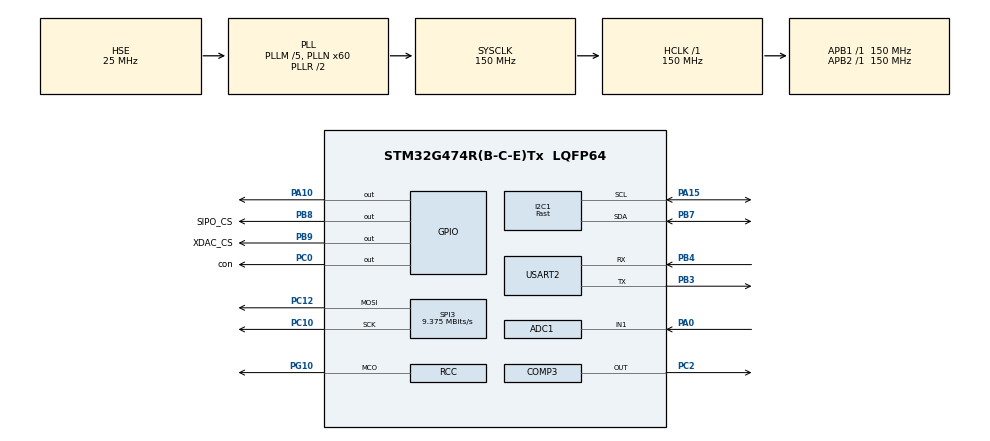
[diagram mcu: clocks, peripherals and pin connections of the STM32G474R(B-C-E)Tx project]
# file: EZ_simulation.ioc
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ADC1.Channel-1\#ChannelRegularConversion=ADC_CHANNEL_1
ADC1.ClockPrescaler=ADC_CLOCK_ASYNC_DIV1
ADC1.ContinuousConvMode=DISABLE
ADC1.ExternalTrigConv=ADC_EXTERNALTRIG_T6_TRGO
ADC1.NbrOfConversion=1
ADC1.NbrOfConversionFlag=1
ADC1.OffsetNumber-1\#ChannelRegularConversion=ADC_OFFSET_NONE
ADC1.Rank-1\#ChannelRegularConversion=1
ADC1.SamplingTime-1\#ChannelRegularConversion=ADC_SAMPLETIME_2CYCLES_5
ADC1.master=1
COMP3.Hysteresis=COMP_HYSTERESIS_70MV
CRC.CRCLength=CRC_POLYLENGTH_16B
CRC.DefaultInitValueUse=DEFAULT_INIT_VALUE_DISABLE
CRC.DefaultPolynomialUse=DEFAULT_POLYNOMIAL_DISABLE
CRC.GeneratingPolynomial=X12+X5+X0
Dma.ADC1.1.Direction=DMA_PERIPH_TO_MEMORY
Dma.ADC1.1.EventEnable=DISABLE
Dma.ADC1.1.Instance=DMA1_Channel1
Dma.ADC1.1.MemDataAlignment=DMA_MDATAALIGN_HALFWORD
Dma.ADC1.1.MemInc=DMA_MINC_ENABLE
Dma.ADC1.1.Mode=DMA_NORMAL
Dma.ADC1.1.PeriphDataAlignment=DMA_PDATAALIGN_HALFWORD
Dma.ADC1.1.PeriphInc=DMA_PINC_DISABLE
Dma.ADC1.1.Polarity=HAL_DMAMUX_REQ_GEN_RISING
Dma.ADC1.1.Priority=DMA_PRIORITY_LOW
Dma.ADC1.1.RequestNumber=1
Dma.ADC1.1.SignalID=NONE
Dma.ADC1.1.SyncEnable=DISABLE
Dma.ADC1.1.SyncPolarity=HAL_DMAMUX_SYNC_NO_EVENT
Dma.ADC1.1.SyncRequestNumber=1
Dma.ADC1.1.SyncSignalID=NONE
Dma.Request0=USART2_RX
Dma.Request1=ADC1
Dma.Request2=TIM2_CH1
Dma.TIM2_CH1.2.Direction=DMA_PERIPH_TO_MEMORY
Dma.TIM2_CH1.2.EventEnable=DISABLE
Dma.TIM2_CH1.2.Instance=DMA1_Channel2
Dma.TIM2_CH1.2.MemDataAlignment=DMA_MDATAALIGN_WORD
Dma.TIM2_CH1.2.MemInc=DMA_MINC_ENABLE
Dma.TIM2_CH1.2.Mode=DMA_NORMAL
Dma.TIM2_CH1.2.PeriphDataAlignment=DMA_PDATAALIGN_WORD
Dma.TIM2_CH1.2.PeriphInc=DMA_PINC_DISABLE
Dma.TIM2_CH1.2.Polarity=HAL_DMAMUX_REQ_GEN_RISING
Dma.TIM2_CH1.2.Priority=DMA_PRIORITY_HIGH
Dma.TIM2_CH1.2.RequestNumber=1
Dma.TIM2_CH1.2.SignalID=NONE
Dma.TIM2_CH1.2.SyncEnable=DISABLE
Dma.TIM2_CH1.2.SyncPolarity=HAL_DMAMUX_SYNC_NO_EVENT
Dma.TIM2_CH1.2.SyncRequestNumber=1
Dma.TIM2_CH1.2.SyncSignalID=NONE
Dma.USART2_RX.0.Direction=DMA_PERIPH_TO_MEMORY
Dma.USART2_RX.0.EventEnable=DISABLE
Dma.USART2_RX.0.Instance=DMA2_Channel8
Dma.USART2_RX.0.MemDataAlignment=DMA_MDATAALIGN_BYTE
Dma.USART2_RX.0.MemInc=DMA_MINC_ENABLE
Dma.USART2_RX.0.Mode=DMA_NORMAL
Dma.USART2_RX.0.PeriphDataAlignment=DMA_PDATAALIGN_BYTE
Dma.USART2_RX.0.PeriphInc=DMA_PINC_DISABLE
Dma.USART2_RX.0.Polarity=HAL_DMAMUX_REQ_GEN_RISING
Dma.USART2_RX.0.Priority=DMA_PRIORITY_LOW
Dma.USART2_RX.0.RequestNumber=1
Dma.USART2_RX.0.SignalID=NONE
Dma.USART2_RX.0.SyncEnable=DISABLE
Dma.USART2_RX.0.SyncPolarity=HAL_DMAMUX_SYNC_NO_EVENT
Dma.USART2_RX.0.SyncRequestNumber=1
Dma.USART2_RX.0.SyncSignalID=NONE
I2C1.I2C_Speed_Mode=I2C_Fast
I2C1.Timing=0x10E32879
Mcu.Family=STM32G4
Mcu.Name=STM32G474R(B-C-E)Tx
Mcu.Package=LQFP64
NVIC.DMA1_Channel1_IRQn=true\:0\:0\:false\:false\:true\:false\:true\:true
NVIC.DMA1_Channel2_IRQn=true\:0\:0\:false\:false\:true\:false\:true\:true
NVIC.DMA2_Channel8_IRQn=true\:0\:0\:false\:false\:true\:false\:true\:true
NVIC.PriorityGroup=NVIC_PRIORITYGROUP_4
NVIC.USART2_IRQn=true\:14\:0\:true\:false\:true\:true\:true\:true
PA0.Signal=SharedAnalog_PA0
PA10.Signal=GPIO_Output
PA13.Mode=Serial_Wire
PA13.Signal=SYS_JTMS-SWDIO
PA14.Mode=Serial_Wire
PA14.Signal=SYS_JTCK-SWCLK
PA15.Mode=I2C
PA15.Signal=I2C1_SCL
PB3.Mode=Asynchronous
PB3.Signal=USART2_TX
PB4.Mode=Asynchronous
PB4.Signal=USART2_RX
PB7.Mode=I2C
PB7.Signal=I2C1_SDA
PB8-BOOT0.GPIO_Label=SIPO_CS
PB8-BOOT0.Signal=GPIO_Output
PB9.GPIO_Label=XDAC_CS
PB9.Signal=GPIO_Output
PC0.GPIO_Label=con
PC0.Signal=GPIO_Output
PC10.Mode=TX_Only_Simplex_Unidirect_Master
PC10.Signal=SPI3_SCK
PC12.Mode=TX_Only_Simplex_Unidirect_Master
PC12.Signal=SPI3_MOSI
PC2.Mode=ExternalOutput
PC2.Signal=COMP3_OUT
PF0-OSC_IN.Mode=HSE-External-Oscillator
PF0-OSC_IN.Signal=RCC_OSC_IN
PF1-OSC_OUT.Mode=HSE-External-Oscillator
PF1-OSC_OUT.Signal=RCC_OSC_OUT
PG10-NRST.Mode=Clock-out
PG10-NRST.Signal=RCC_MCO
ProjectManager.HeapSize=0x200
ProjectManager.StackSize=0x400
ProjectManager.TargetToolchain=STM32CubeIDE
RCC.ADC12CLockSelection=RCC_ADC12CLKSOURCE_PLL
RCC.ADC12Freq_Value=60000000
RCC.ADC345Freq_Value=150000000
RCC.AHBFreq_Value=150000000
RCC.APB1Freq_Value=150000000
RCC.APB1TimFreq_Value=150000000
RCC.APB2Freq_Value=150000000
RCC.APB2TimFreq_Value=150000000
RCC.CortexFreq_Value=150000000
RCC.EXTERNAL_CLOCK_VALUE=12288000
RCC.HCLKFreq_Value=150000000
RCC.HSE_VALUE=25000000
RCC.HSI48_VALUE=48000000
RCC.HSI_VALUE=16000000
RCC.LSE_VALUE=32768
RCC.PLLM=RCC_PLLM_DIV5
RCC.PLLN=60
RCC.PLLP=RCC_PLLP_DIV5
RCC.PLLSourceVirtual=RCC_PLLSOURCE_HSE
RCC.RCC_MCO1Source=RCC_MCO1SOURCE_HSE
RCC.SYSCLKFreq_VALUE=150000000
RCC.SYSCLKSource=RCC_SYSCLKSOURCE_PLLCLK
RCC.USART2CLockSelection=RCC_USART2CLKSOURCE_SYSCLK
RCC.USBFreq_Value=150000000
RCC.VCOOutputFreq_Value=300000000
SH.SharedAnalog_PA0.0=ADC1_IN1,IN1-Single-Ended
SH.SharedAnalog_PA0.1=COMP3_INP,INP
SPI3.BaudRatePrescaler=SPI_BAUDRATEPRESCALER_16
SPI3.CalculateBaudRate=9.375 MBits/s
SPI3.DataSize=SPI_DATASIZE_8BIT
SPI3.Direction=SPI_DIRECTION_2LINES
SPI3.Mode=SPI_MODE_MASTER
SPI3.VirtualType=VM_MASTER
TIM2.Channel-Input_Capture1_from_TI1_REMAP_TIM2=TIM_CHANNEL_1
TIM2.TIM2_TI1_REMAP-Input_Capture1_from_TI1_REMAP_TIM2=TIM_TIM2_TI1_COMP3
TIM6.PeriodNoDither=150-1
TIM6.TIM_MasterOutputTrigger=TIM_TRGO_UPDATE
USART2.VirtualMode-Asynchronous=VM_ASYNC
VP_COMP3_VS_DAC1OUT1.Mode=INM_DAC1OUT1
VP_CRC_VS_CRC.Mode=CRC_Activate
VP_DAC1_VS_DACI1.Mode=DAC_OUT1_Int
VP_SYS_VS_DBSignals.Mode=DisableDeadBatterySignals
VP_TIM2_VS_ClockSourceINT.Mode=Internal
VP_TIM2_VS_NoInput1.Mode=Input_Capture1_from_TI1_REMAP_TIM2
VP_TIM3_VS_ClockSourceINT.Mode=Internal
VP_TIM6_VS_ClockSourceINT.Mode=Enable_Timer
VP_TIM7_VS_ClockSourceINT.Mode=Enable_Timer
board=custom

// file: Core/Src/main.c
/* USER CODE BEGIN Header */
/**
  ******************************************************************************
  * @file           : main.c
  * @brief          : Main program body
  ******************************************************************************
  * @attention
  *
  * Copyright (c) 2024 STMicroelectronics.
  * All rights reserved.
  *
  * This software is licensed under terms that can be found in the LICENSE file
  * in the root directory of this software component.
  * If no LICENSE file comes with this software, it is provided AS-IS.
  *
  ******************************************************************************
  */
/* USER CODE END Header */
#include "main.h"

/* USER CODE BEGIN Includes */
#include "measure.h"
/* USER CODE END Includes */

ADC_HandleTypeDef hadc1;
DMA_HandleTypeDef hdma_adc1;

COMP_HandleTypeDef hcomp3;

CRC_HandleTypeDef hcrc;

DAC_HandleTypeDef hdac1;

I2C_HandleTypeDef hi2c1;

SPI_HandleTypeDef hspi3;

TIM_HandleTypeDef htim2;
TIM_HandleTypeDef htim3;
TIM_HandleTypeDef htim6;
TIM_HandleTypeDef htim7;
DMA_HandleTypeDef hdma_tim2_ch1;

UART_HandleTypeDef huart2;
DMA_HandleTypeDef hdma_usart2_rx;

void SystemClock_Config(void);
static void MX_GPIO_Init(void);
static void MX_DMA_Init(void);
static void MX_CRC_Init(void);
static void MX_USART2_UART_Init(void);
static void MX_ADC1_Init(void);
static void MX_SPI3_Init(void);
static void MX_TIM6_Init(void);
static void MX_I2C1_Init(void);
static void MX_DAC1_Init(void);
static void MX_COMP3_Init(void);
static void MX_TIM3_Init(void);
static void MX_TIM2_Init(void);
static void MX_TIM7_Init(void);
/* USER CODE BEGIN PFP */

#define AFE_GAIN_1  0b00000100
#define AFE_GAIN_2  0b00001000
#define AFE_GAIN_3  0b00000000
#define AFE_GAIN_4  0b00001110
#define AFE_GAIN_5  0b00001100
#define AFE_GAIN_6  0b00000010
#define GAIN_1 0.066
#define GAIN_2 0.2
#define GAIN_3 0.6
#define GAIN_4 1.95
#define GAIN_5 3.8
#define GAIN_6 7.8

#define DAC_AFE_OFF1 0
#define DAC_AFE_OFF2 1

#define AFE_GAIN_CS SIPO_CS

#define AWG_GAIN_1  0b00000100
#define AWG_GAIN_2  0b00100000
#define AWG_GAIN_3  0b00010000
#define AWG_GAIN_4  0b00110000

uint8_t gain_state;
static uint8_t now_level;
float afe_gain[6] ={0.33, 1, 3, 9.5, 19, 39};
uint16_t awg_offset_level_buffer[16]={
    2048, 2048, 2048, 2048,
    2048, 2048, 2048, 2048,
    2048, 2048, 2048, 2048,
    2048, 2048, 2048, 2048
};
/* USER CODE END PFP */

int main(void)
{

  /* MCU Configuration--------------------------------------------------------*/

  /* Reset of all peripherals, Initializes the Flash interface and the Systick. */
  HAL_Init();

  /* Configure the system clock */
  SystemClock_Config();

  /* Initialize all configured peripherals */
  MX_GPIO_Init();
  MX_DMA_Init();
  MX_CRC_Init();
  MX_USART2_UART_Init();
  MX_ADC1_Init();
  MX_SPI3_Init();
  MX_TIM6_Init();
  MX_I2C1_Init();
  MX_DAC1_Init();
  MX_COMP3_Init();
  MX_TIM3_Init();
  MX_TIM2_Init();
  MX_TIM7_Init();

  /* Infinite loop */
  while (1)
  {

  }
}

void SystemClock_Config(void)
{
  RCC_OscInitTypeDef RCC_OscInitStruct = {0};
  RCC_ClkInitTypeDef RCC_ClkInitStruct = {0};

  /** Configure the main internal regulator output voltage
  */
  HAL_PWREx_ControlVoltageScaling(PWR_REGULATOR_VOLTAGE_SCALE1);

  /** Initializes the RCC Oscillators according to the specified parameters
  * in the RCC_OscInitTypeDef structure.
  */
  RCC_OscInitStruct.OscillatorType = RCC_OSCILLATORTYPE_HSE;
  RCC_OscInitStruct.HSEState = RCC_HSE_ON;
  RCC_OscInitStruct.PLL.PLLState = RCC_PLL_ON;
  RCC_OscInitStruct.PLL.PLLSource = RCC_PLLSOURCE_HSE;
  RCC_OscInitStruct.PLL.PLLM = RCC_PLLM_DIV5;
  RCC_OscInitStruct.PLL.PLLN = 60;
  RCC_OscInitStruct.PLL.PLLP = RCC_PLLP_DIV5;
  RCC_OscInitStruct.PLL.PLLQ = RCC_PLLQ_DIV2;
  RCC_OscInitStruct.PLL.PLLR = RCC_PLLR_DIV2;
  if (HAL_RCC_OscConfig(&RCC_OscInitStruct) != HAL_OK)
  {
    Error_Handler();
  }

  /** Initializes the CPU, AHB and APB buses clocks
  */
  RCC_ClkInitStruct.ClockType = RCC_CLOCKTYPE_HCLK|RCC_CLOCKTYPE_SYSCLK
                              |RCC_CLOCKTYPE_PCLK1|RCC_CLOCKTYPE_PCLK2;
  RCC_ClkInitStruct.SYSCLKSource = RCC_SYSCLKSOURCE_PLLCLK;
  RCC_ClkInitStruct.AHBCLKDivider = RCC_SYSCLK_DIV1;
  RCC_ClkInitStruct.APB1CLKDivider = RCC_HCLK_DIV1;
  RCC_ClkInitStruct.APB2CLKDivider = RCC_HCLK_DIV1;

  if (HAL_RCC_ClockConfig(&RCC_ClkInitStruct, FLASH_LATENCY_4) != HAL_OK)
  {
    Error_Handler();
  }
  HAL_RCC_MCOConfig(RCC_MCO_PG10, RCC_MCO1SOURCE_HSE, RCC_MCODIV_1);
}

static void MX_ADC1_Init(void)
{

  ADC_MultiModeTypeDef multimode = {0};
  ADC_ChannelConfTypeDef sConfig = {0};

  /** Common config
  */
  hadc1.Instance = ADC1;
  hadc1.Init.ClockPrescaler = ADC_CLOCK_ASYNC_DIV1;
  hadc1.Init.Resolution = ADC_RESOLUTION_12B;
  hadc1.Init.DataAlign = ADC_DATAALIGN_RIGHT;
  hadc1.Init.GainCompensation = 0;
  hadc1.Init.ScanConvMode = ADC_SCAN_DISABLE;
  hadc1.Init.EOCSelection = ADC_EOC_SINGLE_CONV;
  hadc1.Init.LowPowerAutoWait = DISABLE;
  hadc1.Init.ContinuousConvMode = DISABLE;
  hadc1.Init.NbrOfConversion = 1;
  hadc1.Init.DiscontinuousConvMode = DISABLE;
  hadc1.Init.ExternalTrigConv = ADC_EXTERNALTRIG_T6_TRGO;
  hadc1.Init.ExternalTrigConvEdge = ADC_EXTERNALTRIGCONVEDGE_RISING;
  hadc1.Init.DMAContinuousRequests = DISABLE;
  hadc1.Init.Overrun = ADC_OVR_DATA_PRESERVED;
  hadc1.Init.OversamplingMode = DISABLE;
  if (HAL_ADC_Init(&hadc1) != HAL_OK)
  {
    Error_Handler();
  }

  /** Configure the ADC multi-mode
  */
  multimode.Mode = ADC_MODE_INDEPENDENT;
  if (HAL_ADCEx_MultiModeConfigChannel(&hadc1, &multimode) != HAL_OK)
  {
    Error_Handler();
  }

  /** Configure Regular Channel
  */
  sConfig.Channel = ADC_CHANNEL_1;
  sConfig.Rank = ADC_REGULAR_RANK_1;
  sConfig.SamplingTime = ADC_SAMPLETIME_2CYCLES_5;
  sConfig.SingleDiff = ADC_SINGLE_ENDED;
  sConfig.OffsetNumber = ADC_OFFSET_NONE;
  sConfig.Offset = 0;
  if (HAL_ADC_ConfigChannel(&hadc1, &sConfig) != HAL_OK)
  {
    Error_Handler();
  }

}

static void MX_COMP3_Init(void)
{

  hcomp3.Instance = COMP3;
  hcomp3.Init.InputPlus = COMP_INPUT_PLUS_IO1;
  hcomp3.Init.InputMinus = COMP_INPUT_MINUS_DAC1_CH1;
  hcomp3.Init.OutputPol = COMP_OUTPUTPOL_NONINVERTED;
  hcomp3.Init.Hysteresis = COMP_HYSTERESIS_70MV;
  hcomp3.Init.BlankingSrce = COMP_BLANKINGSRC_NONE;
  hcomp3.Init.TriggerMode = COMP_TRIGGERMODE_NONE;
  if (HAL_COMP_Init(&hcomp3) != HAL_OK)
  {
    Error_Handler();
  }

}

static void MX_CRC_Init(void)
{

  hcrc.Instance = CRC;
  hcrc.Init.DefaultPolynomialUse = DEFAULT_POLYNOMIAL_DISABLE;
  hcrc.Init.DefaultInitValueUse = DEFAULT_INIT_VALUE_DISABLE;
  hcrc.Init.GeneratingPolynomial = 4129;
  hcrc.Init.CRCLength = CRC_POLYLENGTH_16B;
  hcrc.Init.InitValue = 0;
  hcrc.Init.InputDataInversionMode = CRC_INPUTDATA_INVERSION_NONE;
  hcrc.Init.OutputDataInversionMode = CRC_OUTPUTDATA_INVERSION_DISABLE;
  hcrc.InputDataFormat = CRC_INPUTDATA_FORMAT_BYTES;
  if (HAL_CRC_Init(&hcrc) != HAL_OK)
  {
    Error_Handler();
  }

}

static void MX_DAC1_Init(void)
{

  DAC_ChannelConfTypeDef sConfig = {0};

  /** DAC Initialization
  */
  hdac1.Instance = DAC1;
  if (HAL_DAC_Init(&hdac1) != HAL_OK)
  {
    Error_Handler();
  }

  /** DAC channel OUT1 config
  */
  sConfig.DAC_HighFrequency = DAC_HIGH_FREQUENCY_INTERFACE_MODE_AUTOMATIC;
  sConfig.DAC_DMADoubleDataMode = DISABLE;
  sConfig.DAC_SignedFormat = DISABLE;
  sConfig.DAC_SampleAndHold = DAC_SAMPLEANDHOLD_DISABLE;
  sConfig.DAC_Trigger = DAC_TRIGGER_NONE;
  sConfig.DAC_Trigger2 = DAC_TRIGGER_NONE;
  sConfig.DAC_OutputBuffer = DAC_OUTPUTBUFFER_DISABLE;
  sConfig.DAC_ConnectOnChipPeripheral = DAC_CHIPCONNECT_INTERNAL;
  sConfig.DAC_UserTrimming = DAC_TRIMMING_FACTORY;
  if (HAL_DAC_ConfigChannel(&hdac1, &sConfig, DAC_CHANNEL_1) != HAL_OK)
  {
    Error_Handler();
  }

}

static void MX_I2C1_Init(void)
{

  hi2c1.Instance = I2C1;
  hi2c1.Init.Timing = 0x10E32879;
  hi2c1.Init.OwnAddress1 = 0;
  hi2c1.Init.AddressingMode = I2C_ADDRESSINGMODE_7BIT;
  hi2c1.Init.DualAddressMode = I2C_DUALADDRESS_DISABLE;
  hi2c1.Init.OwnAddress2 = 0;
  hi2c1.Init.OwnAddress2Masks = I2C_OA2_NOMASK;
  hi2c1.Init.GeneralCallMode = I2C_GENERALCALL_DISABLE;
  hi2c1.Init.NoStretchMode = I2C_NOSTRETCH_DISABLE;
  if (HAL_I2C_Init(&hi2c1) != HAL_OK)
  {
    Error_Handler();
  }

  /** Configure Analogue filter
  */
  if (HAL_I2CEx_ConfigAnalogFilter(&hi2c1, I2C_ANALOGFILTER_ENABLE) != HAL_OK)
  {
    Error_Handler();
  }

  /** Configure Digital filter
  */
  if (HAL_I2CEx_ConfigDigitalFilter(&hi2c1, 0) != HAL_OK)
  {
    Error_Handler();
  }

}

static void MX_SPI3_Init(void)
{

  /* SPI3 parameter configuration*/
  hspi3.Instance = SPI3;
  hspi3.Init.Mode = SPI_MODE_MASTER;
  hspi3.Init.Direction = SPI_DIRECTION_2LINES;
  hspi3.Init.DataSize = SPI_DATASIZE_8BIT;
  hspi3.Init.CLKPolarity = SPI_POLARITY_LOW;
  hspi3.Init.CLKPhase = SPI_PHASE_1EDGE;
  hspi3.Init.NSS = SPI_NSS_SOFT;
  hspi3.Init.BaudRatePrescaler = SPI_BAUDRATEPRESCALER_16;
  hspi3.Init.FirstBit = SPI_FIRSTBIT_MSB;
  hspi3.Init.TIMode = SPI_TIMODE_DISABLE;
  hspi3.Init.CRCCalculation = SPI_CRCCALCULATION_DISABLE;
  hspi3.Init.CRCPolynomial = 7;
  hspi3.Init.CRCLength = SPI_CRC_LENGTH_DATASIZE;
  hspi3.Init.NSSPMode = SPI_NSS_PULSE_ENABLE;
  if (HAL_SPI_Init(&hspi3) != HAL_OK)
  {
    Error_Handler();
  }

}

static void MX_TIM2_Init(void)
{

  TIM_ClockConfigTypeDef sClockSourceConfig = {0};
  TIM_MasterConfigTypeDef sMasterConfig = {0};
  TIM_IC_InitTypeDef sConfigIC = {0};

  htim2.Instance = TIM2;
  htim2.Init.Prescaler = 0;
  htim2.Init.CounterMode = TIM_COUNTERMODE_UP;
  htim2.Init.Period = 4294967295;
  htim2.Init.ClockDivision = TIM_CLOCKDIVISION_DIV1;
  htim2.Init.AutoReloadPreload = TIM_AUTORELOAD_PRELOAD_DISABLE;
  if (HAL_TIM_Base_Init(&htim2) != HAL_OK)
  {
    Error_Handler();
  }
  sClockSourceConfig.ClockSource = TIM_CLOCKSOURCE_INTERNAL;
  if (HAL_TIM_ConfigClockSource(&htim2, &sClockSourceConfig) != HAL_OK)
  {
    Error_Handler();
  }
  if (HAL_TIM_IC_Init(&htim2) != HAL_OK)
  {
    Error_Handler();
  }
  sMasterConfig.MasterOutputTrigger = TIM_TRGO_RESET;
  sMasterConfig.MasterSlaveMode = TIM_MASTERSLAVEMODE_DISABLE;
  if (HAL_TIMEx_MasterConfigSynchronization(&htim2, &sMasterConfig) != HAL_OK)
  {
    Error_Handler();
  }
  sConfigIC.ICPolarity = TIM_INPUTCHANNELPOLARITY_RISING;
  sConfigIC.ICSelection = TIM_ICSELECTION_DIRECTTI;
  sConfigIC.ICPrescaler = TIM_ICPSC_DIV1;
  sConfigIC.ICFilter = 0;
  if (HAL_TIM_IC_ConfigChannel(&htim2, &sConfigIC, TIM_CHANNEL_1) != HAL_OK)
  {
    Error_Handler();
  }
  if (HAL_TIMEx_TISelection(&htim2, TIM_TIM2_TI1_COMP3, TIM_CHANNEL_1) != HAL_OK)
  {
    Error_Handler();
  }

}

static void MX_TIM3_Init(void)
{

  TIM_ClockConfigTypeDef sClockSourceConfig = {0};
  TIM_MasterConfigTypeDef sMasterConfig = {0};

  htim3.Instance = TIM3;
  htim3.Init.Prescaler = 0;
  htim3.Init.CounterMode = TIM_COUNTERMODE_UP;
  htim3.Init.Period = 65535;
  htim3.Init.ClockDivision = TIM_CLOCKDIVISION_DIV1;
  htim3.Init.AutoReloadPreload = TIM_AUTORELOAD_PRELOAD_DISABLE;
  if (HAL_TIM_Base_Init(&htim3) != HAL_OK)
  {
    Error_Handler();
  }
  sClockSourceConfig.ClockSource = TIM_CLOCKSOURCE_INTERNAL;
  if (HAL_TIM_ConfigClockSource(&htim3, &sClockSourceConfig) != HAL_OK)
  {
    Error_Handler();
  }
  sMasterConfig.MasterOutputTrigger = TIM_TRGO_RESET;
  sMasterConfig.MasterSlaveMode = TIM_MASTERSLAVEMODE_DISABLE;
  if (HAL_TIMEx_MasterConfigSynchronization(&htim3, &sMasterConfig) != HAL_OK)
  {
    Error_Handler();
  }

}

static void MX_TIM6_Init(void)
{

  TIM_MasterConfigTypeDef sMasterConfig = {0};

  htim6.Instance = TIM6;
  htim6.Init.Prescaler = 0;
  htim6.Init.CounterMode = TIM_COUNTERMODE_UP;
  htim6.Init.Period = 149;
  htim6.Init.AutoReloadPreload = TIM_AUTORELOAD_PRELOAD_DISABLE;
  if (HAL_TIM_Base_Init(&htim6) != HAL_OK)
  {
    Error_Handler();
  }
  sMasterConfig.MasterOutputTrigger = TIM_TRGO_UPDATE;
  sMasterConfig.MasterSlaveMode = TIM_MASTERSLAVEMODE_DISABLE;
  if (HAL_TIMEx_MasterConfigSynchronization(&htim6, &sMasterConfig) != HAL_OK)
  {
    Error_Handler();
  }

}

static void MX_TIM7_Init(void)
{

  TIM_MasterConfigTypeDef sMasterConfig = {0};

  htim7.Instance = TIM7;
  htim7.Init.Prescaler = 0;
  htim7.Init.CounterMode = TIM_COUNTERMODE_UP;
  htim7.Init.Period = 65535;
  htim7.Init.AutoReloadPreload = TIM_AUTORELOAD_PRELOAD_DISABLE;
  if (HAL_TIM_Base_Init(&htim7) != HAL_OK)
  {
    Error_Handler();
  }
  sMasterConfig.MasterOutputTrigger = TIM_TRGO_RESET;
  sMasterConfig.MasterSlaveMode = TIM_MASTERSLAVEMODE_DISABLE;
  if (HAL_TIMEx_MasterConfigSynchronization(&htim7, &sMasterConfig) != HAL_OK)
  {
    Error_Handler();
  }

}

static void MX_USART2_UART_Init(void)
{

  huart2.Instance = USART2;
  huart2.Init.BaudRate = 115200;
  huart2.Init.WordLength = UART_WORDLENGTH_8B;
  huart2.Init.StopBits = UART_STOPBITS_1;
  huart2.Init.Parity = UART_PARITY_NONE;
  huart2.Init.Mode = UART_MODE_TX_RX;
  huart2.Init.HwFlowCtl = UART_HWCONTROL_NONE;
  huart2.Init.OverSampling = UART_OVERSAMPLING_16;
  huart2.Init.OneBitSampling = UART_ONE_BIT_SAMPLE_DISABLE;
  huart2.Init.ClockPrescaler = UART_PRESCALER_DIV1;
  huart2.AdvancedInit.AdvFeatureInit = UART_ADVFEATURE_NO_INIT;
  if (HAL_UART_Init(&huart2) != HAL_OK)
  {
    Error_Handler();
  }
  if (HAL_UARTEx_SetTxFifoThreshold(&huart2, UART_TXFIFO_THRESHOLD_1_8) != HAL_OK)
  {
    Error_Handler();
  }
  if (HAL_UARTEx_SetRxFifoThreshold(&huart2, UART_RXFIFO_THRESHOLD_1_8) != HAL_OK)
  {
    Error_Handler();
  }
  if (HAL_UARTEx_DisableFifoMode(&huart2) != HAL_OK)
  {
    Error_Handler();
  }

}

static void MX_DMA_Init(void)
{

  /* DMA controller clock enable */
  __HAL_RCC_DMAMUX1_CLK_ENABLE();
  __HAL_RCC_DMA2_CLK_ENABLE();
  __HAL_RCC_DMA1_CLK_ENABLE();

  /* DMA interrupt init */
  /* DMA1_Channel1_IRQn interrupt configuration */
  HAL_NVIC_SetPriority(DMA1_Channel1_IRQn, 0, 0);
  HAL_NVIC_EnableIRQ(DMA1_Channel1_IRQn);
  /* DMA1_Channel2_IRQn interrupt configuration */
  HAL_NVIC_SetPriority(DMA1_Channel2_IRQn, 0, 0);
  HAL_NVIC_EnableIRQ(DMA1_Channel2_IRQn);
  /* DMA2_Channel8_IRQn interrupt configuration */
  HAL_NVIC_SetPriority(DMA2_Channel8_IRQn, 0, 0);
  HAL_NVIC_EnableIRQ(DMA2_Channel8_IRQn);

}

static void MX_GPIO_Init(void)
{
  GPIO_InitTypeDef GPIO_InitStruct = {0};

  /* GPIO Ports Clock Enable */
  __HAL_RCC_GPIOF_CLK_ENABLE();
  __HAL_RCC_GPIOG_CLK_ENABLE();
  __HAL_RCC_GPIOC_CLK_ENABLE();
  __HAL_RCC_GPIOA_CLK_ENABLE();
  __HAL_RCC_GPIOB_CLK_ENABLE();

  /*Configure GPIO pin Output Level */
  HAL_GPIO_WritePin(con_GPIO_Port, con_Pin, GPIO_PIN_RESET);

  /*Configure GPIO pin Output Level */
  HAL_GPIO_WritePin(GPIOA, GPIO_PIN_10, GPIO_PIN_RESET);

  /*Configure GPIO pin Output Level */
  HAL_GPIO_WritePin(GPIOB, SIPO_CS_Pin|XDAC_CS_Pin, GPIO_PIN_RESET);

  /*Configure GPIO pin : PG10 */
  GPIO_InitStruct.Pin = GPIO_PIN_10;
  GPIO_InitStruct.Mode = GPIO_MODE_AF_PP;
  GPIO_InitStruct.Pull = GPIO_NOPULL;
  GPIO_InitStruct.Speed = GPIO_SPEED_FREQ_LOW;
  GPIO_InitStruct.Alternate = GPIO_AF0_MCO;
  HAL_GPIO_Init(GPIOG, &GPIO_InitStruct);

  /*Configure GPIO pin : con_Pin */
  GPIO_InitStruct.Pin = con_Pin;
  GPIO_InitStruct.Mode = GPIO_MODE_OUTPUT_PP;
  GPIO_InitStruct.Pull = GPIO_NOPULL;
  GPIO_InitStruct.Speed = GPIO_SPEED_FREQ_LOW;
  HAL_GPIO_Init(con_GPIO_Port, &GPIO_InitStruct);

  /*Configure GPIO pin : PA10 */
  GPIO_InitStruct.Pin = GPIO_PIN_10;
  GPIO_InitStruct.Mode = GPIO_MODE_OUTPUT_PP;
  GPIO_InitStruct.Pull = GPIO_NOPULL;
  GPIO_InitStruct.Speed = GPIO_SPEED_FREQ_LOW;
  HAL_GPIO_Init(GPIOA, &GPIO_InitStruct);

  /*Configure GPIO pins : SIPO_CS_Pin XDAC_CS_Pin */
  GPIO_InitStruct.Pin = SIPO_CS_Pin|XDAC_CS_Pin;
  GPIO_InitStruct.Mode = GPIO_MODE_OUTPUT_PP;
  GPIO_InitStruct.Pull = GPIO_NOPULL;
  GPIO_InitStruct.Speed = GPIO_SPEED_FREQ_LOW;
  HAL_GPIO_Init(GPIOB, &GPIO_InitStruct);

}

void Error_Handler(void)
{
  __disable_irq();
  while (1)
  {
  }
}
